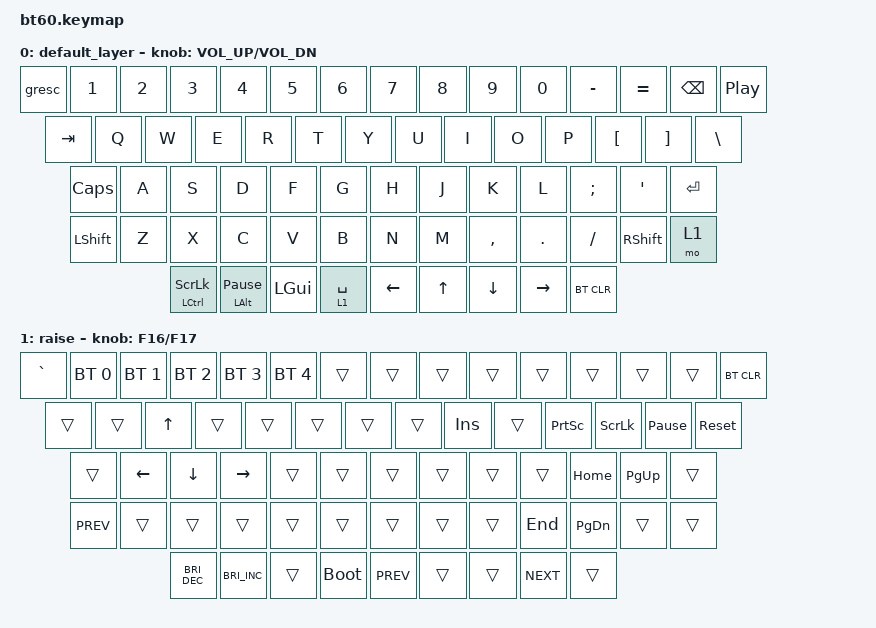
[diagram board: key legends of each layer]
#include <behaviors.dtsi>
#include <dt-bindings/zmk/keys.h>
#include <dt-bindings/zmk/bt.h>
#include <dt-bindings/zmk/rgb.h>
#include <dt-bindings/zmk/backlight.h>

/ {
	keymap {
		compatible = "zmk,keymap";

		default_layer {
				// ------------------------------------------------------------------------------------------
				// | ESC |  1  |  2  |  3  |  4  |  5  |  6  |  7  |  8  |  9  |  0  |  -  |  =  |BKSP | PP |
				// | TAB  |  Q  |  W  |  E  |  R  |  T  |  Y  |  U  |  I  |  O  |  P  |  [  |  ]  |    |    |
				// | CAPS  |  A  |  S  |  D  |  F  |  G  |  H  |  J  |  K  |  L  |  ;  |  '  |     ENTER    |
				// |  SHIFT|NONE|  Z  |  X  |  C  |  V  |  B  |  N  |  M  |  ,  |  .  | /   | SHFT |  RAISE |
				// |  CTL  |  WIN  |  ALT  |            SPACE                    | LEFT | UP | DOWN | RIGHT |
				// ------------------------------------------------------------------------------------------
			bindings = <
				&gresc &kp N1 &kp N2 &kp N3 &kp N4 &kp N5 &kp N6 &kp N7 &kp  N8   &kp  N9 &kp  N0  &kp MINUS &kp EQUAL &kp BSPC &kp C_PP
				&kp TAB  &kp Q  &kp W  &kp E  &kp R  &kp T  &kp Y  &kp U  &kp  I    &kp  O  &kp  P   &kp LBKT &kp RBKT  &kp BSLH
				&kp CAPS  &kp A  &kp S  &kp D  &kp F  &kp G  &kp H  &kp J  &kp  K    &kp  L  &kp SEMI &kp SQT           &kp RET
				&kp LSHFT  &kp Z  &kp X  &kp C  &kp V  &kp B  &kp N  &kp M  &kp COMMA &kp DOT &kp FSLH     &kp RSHFT    &mo 1
				&mt LCTRL SLCK &mt LALT PAUSE_BREAK &kp LGUI         &lt 1 SPACE         &kp LEFT  &kp UP &kp DOWN &kp RIGHT &bt BT_CLR
			>;
			sensor-bindings = <&inc_dec_kp C_VOL_UP C_VOL_DN>;
		};
		raise {
			bindings = <
				&kp GRAVE &bt BT_SEL 0 &bt BT_SEL 1 &bt BT_SEL 2 &bt BT_SEL 3 &bt BT_SEL 4 &trans &trans &trans &trans &trans &trans &trans &trans &bt BT_CLR
				&trans &trans &kp UP &trans &trans &trans &trans &trans &kp INS &trans &kp PSCRN &kp SLCK &kp PAUSE_BREAK &sys_reset
				&trans    &kp LEFT &kp DOWN &kp RIGHT &trans &trans &trans &trans &trans &trans &kp HOME  &kp PG_UP   &trans
				&kp C_PREV &trans &trans &trans &trans &trans &trans &trans &trans &kp END &kp PG_DN  &trans &trans
				&kp C_BRI_DEC &kp C_BRI_INC  &trans              &bootloader                        &kp C_PREV &trans &trans &kp C_NEXT &trans
			>;
			sensor-bindings = <&inc_dec_kp F16 F17>;
		};
	};
};
